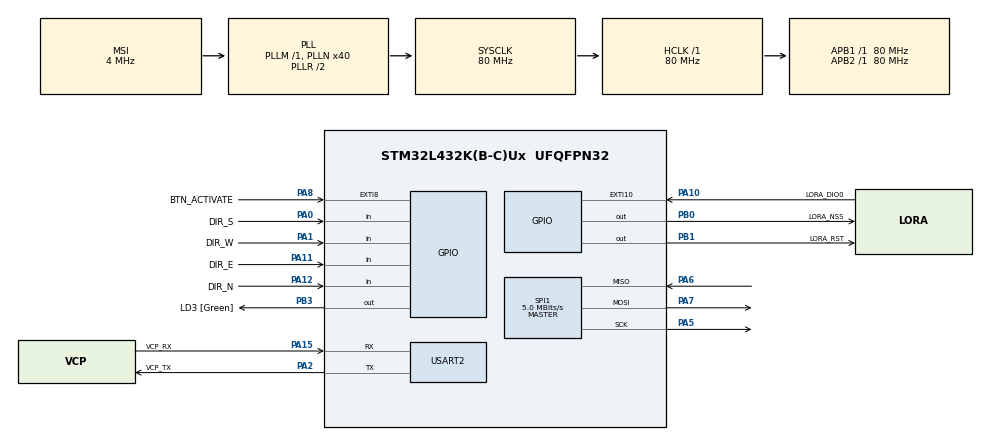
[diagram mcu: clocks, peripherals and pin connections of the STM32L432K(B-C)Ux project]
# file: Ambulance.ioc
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FREERTOS.Tasks01=defaultTask,24,128,StartDefaultTask,Default,NULL,Dynamic,NULL,NULL
FREERTOS.configTOTAL_HEAP_SIZE=8192
Mcu.Family=STM32L4
Mcu.Name=STM32L432K(B-C)Ux
Mcu.Package=UFQFPN32
NVIC.EXTI15_10_IRQn=true\:5\:0\:false\:false\:true\:true\:true\:true\:true
NVIC.EXTI9_5_IRQn=true\:5\:0\:false\:false\:true\:true\:true\:true\:true
NVIC.PriorityGroup=NVIC_PRIORITYGROUP_4
NVIC.TIM6_DAC_IRQn=true\:15\:0\:false\:false\:true\:false\:false\:true\:true
NVIC.TimeBase=TIM6_DAC_IRQn
NVIC.TimeBaseIP=TIM6
PA0.GPIO_Label=DIR_S
PA0.GPIO_PuPd=GPIO_PULLUP
PA0.Signal=GPIO_Input
PA1.GPIO_Label=DIR_W
PA1.GPIO_PuPd=GPIO_PULLUP
PA1.Signal=GPIO_Input
PA10.GPIO_Label=LORA_DIO0
PA10.Signal=GPXTI10
PA11.GPIO_Label=DIR_E
PA11.GPIO_PuPd=GPIO_PULLUP
PA11.Signal=GPIO_Input
PA12.GPIO_Label=DIR_N
PA12.GPIO_PuPd=GPIO_PULLUP
PA12.Signal=GPIO_Input
PA13\ (JTMS-SWDIO).GPIO_Label=SWDIO
PA13\ (JTMS-SWDIO).Mode=Serial_Wire
PA13\ (JTMS-SWDIO).Signal=SYS_JTMS-SWDIO
PA14\ (JTCK-SWCLK).GPIO_Label=SWCLK
PA14\ (JTCK-SWCLK).Mode=Serial_Wire
PA14\ (JTCK-SWCLK).Signal=SYS_JTCK-SWCLK
PA15\ (JTDI).GPIO_Label=VCP_RX
PA15\ (JTDI).Mode=Asynchronous
PA15\ (JTDI).Signal=USART2_RX
PA2.GPIO_Label=VCP_TX
PA2.Mode=Asynchronous
PA2.Signal=USART2_TX
PA5.Mode=Full_Duplex_Master
PA5.Signal=SPI1_SCK
PA6.Mode=Full_Duplex_Master
PA6.Signal=SPI1_MISO
PA7.Mode=Full_Duplex_Master
PA7.Signal=SPI1_MOSI
PA8.GPIO_Label=BTN_ACTIVATE
PA8.GPIO_ModeDefaultEXTI=GPIO_MODE_IT_FALLING
PA8.GPIO_PuPd=GPIO_PULLUP
PA8.Signal=GPXTI8
PB0.GPIO_Label=LORA_NSS
PB0.GPIO_Speed=GPIO_SPEED_FREQ_HIGH
PB0.PinState=GPIO_PIN_SET
PB0.Signal=GPIO_Output
PB1.GPIO_Label=LORA_RST
PB1.GPIO_Speed=GPIO_SPEED_FREQ_HIGH
PB1.PinState=GPIO_PIN_SET
PB1.Signal=GPIO_Output
PB3\ (JTDO-TRACESWO).GPIO_Label=LD3 [Green]
PB3\ (JTDO-TRACESWO).Signal=GPIO_Output
PC14-OSC32_IN\ (PC14).Signal=RCC_OSC32_IN
PC15-OSC32_OUT\ (PC15).Signal=RCC_OSC32_OUT
ProjectManager.HeapSize=0x200
ProjectManager.StackSize=0x400
ProjectManager.TargetToolchain=MDK-ARM V5
RCC.AHBFreq_Value=80000000
RCC.APB1Freq_Value=80000000
RCC.APB1TimFreq_Value=80000000
RCC.APB2Freq_Value=80000000
RCC.APB2TimFreq_Value=80000000
RCC.CortexFreq_Value=80000000
RCC.HCLKFreq_Value=80000000
RCC.HSE_VALUE=8000000
RCC.HSI16_VALUE=16000000
RCC.HSI48_VALUE=48000000
RCC.HSI_VALUE=16000000
RCC.LSE_VALUE=32768
RCC.MSI_VALUE=4000000
RCC.PLLMUL=RCC_PLLMUL_4
RCC.PLLN=40
RCC.SYSCLKFreq_VALUE=80000000
RCC.SYSCLKSource=RCC_SYSCLKSOURCE_PLLCLK
RCC.VCOOutputFreq_Value=160000000
SPI1.BaudRatePrescaler=SPI_BAUDRATEPRESCALER_16
SPI1.CalculateBaudRate=5.0 MBits/s
SPI1.DataSize=SPI_DATASIZE_8BIT
SPI1.Direction=SPI_DIRECTION_2LINES
SPI1.Mode=SPI_MODE_MASTER
SPI1.VirtualType=VM_MASTER
USART2.VirtualMode-Asynchronous=VM_ASYNC
VP_FREERTOS_VS_CMSIS_V2.Mode=CMSIS_V2
VP_SYS_VS_tim6.Mode=TIM6
board=NUCLEO-L432KC

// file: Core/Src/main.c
/* USER CODE BEGIN Header */
/**
  ******************************************************************************
  * @file           : main.c
  * @brief          : Ambulance node — FreeRTOS edition.
  *                   4 tasks: button (50 Hz), radio (every 2s), siren (2 Hz),
  *                   watchdog (1 Hz, via defaultTask).
  ******************************************************************************
  */
/* USER CODE END Header */
#include "main.h"
#include "cmsis_os.h"

/* USER CODE BEGIN Includes */
#include "lora.h"
#include "packet.h"
#include <string.h>
#include <stdbool.h>
#include <stdio.h>
#include <stdarg.h>
/* USER CODE END Includes */

SPI_HandleTypeDef hspi1;

UART_HandleTypeDef huart2;

/* Definitions for defaultTask */
osThreadId_t defaultTaskHandle;
const osThreadAttr_t defaultTask_attributes = {
  .name = "defaultTask",
  .stack_size = 256 * 4,
  .priority = (osPriority_t) osPriorityNormal,
};
/* USER CODE BEGIN PV */

#define AMBULANCE_ID        0x01
#define TX_INTERVAL_MS      2000U
#define BUTTON_DEBOUNCE_MS   150U

static const uint8_t HMAC_KEY[]   = "DEMO_KEY_DO_NOT_USE_IN_PRODUCTION";
static const size_t  HMAC_KEY_LEN = sizeof(HMAC_KEY) - 1;

/* Shared state (volatile because read/written by multiple tasks and the ISR) */
static volatile bool      toggle_pending     = false;
static volatile uint32_t  button_last_irq_ms = 0;
static volatile bool      emergency_active   = false;
static volatile uint32_t  sequence_number    = 0;
static volatile bool      lora_ok            = false;

/* Additional task handles */
osThreadId_t buttonTaskHandle;
osThreadId_t radioTaskHandle;
osThreadId_t sirenTaskHandle;

const osThreadAttr_t buttonTask_attributes = {
  .name = "buttonTask",
  .stack_size = 256 * 4,
  .priority = (osPriority_t) osPriorityHigh,
};

const osThreadAttr_t radioTask_attributes = {
  .name = "radioTask",
  .stack_size = 512 * 4,
  .priority = (osPriority_t) osPriorityNormal,
};

const osThreadAttr_t sirenTask_attributes = {
  .name = "sirenTask",
  .stack_size = 128 * 4,
  .priority = (osPriority_t) osPriorityLow,
};

/* USER CODE END PV */

void SystemClock_Config(void);
static void MX_GPIO_Init(void);
static void MX_USART2_UART_Init(void);
static void MX_SPI1_Init(void);
void StartDefaultTask(void *argument);

/* USER CODE BEGIN PFP */
static void StartButtonTask(void *argument);
static void StartRadioTask(void *argument);
static void StartSirenTask(void *argument);
/* USER CODE END PFP */

/* USER CODE BEGIN 0 */

void HAL_GPIO_EXTI_Callback(uint16_t GPIO_Pin)
{
    uint32_t now = HAL_GetTick();

    if (GPIO_Pin == BTN_ACTIVATE_Pin) {
        if (now - button_last_irq_ms > BUTTON_DEBOUNCE_MS) {
            toggle_pending = true;
            button_last_irq_ms = now;
        }
    }
    else if (GPIO_Pin == LORA_DIO0_Pin) {
        lora_handle_dio0_irq();
    }
}

static void uart_send(const char *s)
{
    HAL_UART_Transmit(&huart2, (uint8_t *)s, (uint16_t)strlen(s), HAL_MAX_DELAY);
}

static void uart_log(const char *fmt, ...)
{
    char buf[120];
    va_list ap;
    va_start(ap, fmt);
    int n = vsnprintf(buf, sizeof(buf), fmt, ap);
    va_end(ap);
    if (n > 0) HAL_UART_Transmit(&huart2, (uint8_t *)buf, (uint16_t)n, HAL_MAX_DELAY);
}

static void set_led(bool on)
{
    HAL_GPIO_WritePin(LD3_GPIO_Port, LD3_Pin,
                      on ? GPIO_PIN_SET : GPIO_PIN_RESET);
}

static void send_emergency_packet(void)
{
    emergency_packet_t pkt;
    memset(&pkt, 0, sizeof(pkt));
    pkt.magic        = EMERGENCY_PACKET_MAGIC;
    pkt.ambulance_id = AMBULANCE_ID;
    pkt.direction    = (uint8_t)DIR_EAST;
    pkt.flags        = 0x01;
    pkt.sequence     = ++sequence_number;
    pkt.timestamp_ms = HAL_GetTick();

    packet_sign(&pkt, HMAC_KEY, HMAC_KEY_LEN);

    if (!lora_ok) {
        uart_log("[%lu] would TX seq=%lu (LoRa unavailable)\r\n",
                 (unsigned long)HAL_GetTick(), (unsigned long)pkt.sequence);
        return;
    }

    if (lora_send((uint8_t *)&pkt, sizeof(pkt)) == LORA_OK) {
        uart_log("[%lu] TX seq=%lu\r\n",
                 (unsigned long)HAL_GetTick(), (unsigned long)pkt.sequence);
    } else {
        uart_log("[%lu] TX failed seq=%lu\r\n",
                 (unsigned long)HAL_GetTick(), (unsigned long)pkt.sequence);
    }
}

/* USER CODE END 0 */

int main(void)
{

  /* MCU Configuration--------------------------------------------------------*/

  /* Reset of all peripherals, Initializes the Flash interface and the Systick. */
  HAL_Init();

  /* Configure the system clock */
  SystemClock_Config();

  /* Initialize all configured peripherals */
  MX_GPIO_Init();
  MX_USART2_UART_Init();
  MX_SPI1_Init();
  /* USER CODE BEGIN 2 */
    uart_send("\r\n\r\n========================================\r\n");
    uart_send("Ambulance unit - FreeRTOS edition\r\n");
    uart_send("========================================\r\n");

    /* Diagnostic: print before lora_init in case it hangs */
    uart_send("Calling lora_init...\r\n");

    lora_config_t cfg = {
        .hspi      = &hspi1,
        .nss_port  = LORA_NSS_GPIO_Port,
        .nss_pin   = LORA_NSS_Pin,
        .rst_port  = LORA_RST_GPIO_Port,
        .rst_pin   = LORA_RST_Pin,
    };

    if (lora_init(&cfg) == LORA_OK) {
        lora_set_frequency(433000000);
        lora_set_spreading_factor(7);
        lora_set_bandwidth_125khz();
        lora_set_coding_rate_4_5();
        lora_set_tx_power(2);
        lora_set_sync_word(0xF3);
        lora_ok = true;
        uart_send("LoRa initialized OK\r\n");
    } else {
        uart_send("ERROR: LoRa init failed - check wiring (continuing without TX)\r\n");
    }

    set_led(false);
    uart_send("Starting FreeRTOS scheduler...\r\n\r\n");
  /* USER CODE END 2 */

  /* Init scheduler */
  osKernelInitialize();

  /* Create the thread(s) */
  /* creation of defaultTask */
  defaultTaskHandle = osThreadNew(StartDefaultTask, NULL, &defaultTask_attributes);

  /* USER CODE BEGIN RTOS_THREADS */
  buttonTaskHandle = osThreadNew(StartButtonTask, NULL, &buttonTask_attributes);
  radioTaskHandle  = osThreadNew(StartRadioTask,  NULL, &radioTask_attributes);
  sirenTaskHandle  = osThreadNew(StartSirenTask,  NULL, &sirenTask_attributes);
  /* USER CODE END RTOS_THREADS */

  /* Start scheduler */
  osKernelStart();

  /* We should never get here as control is now taken by the scheduler */

  /* Infinite loop */
  while (1)
  {

  }
}

void SystemClock_Config(void)
{
  RCC_OscInitTypeDef RCC_OscInitStruct = {0};
  RCC_ClkInitTypeDef RCC_ClkInitStruct = {0};

  /** Configure the main internal regulator output voltage
  */
  if (HAL_PWREx_ControlVoltageScaling(PWR_REGULATOR_VOLTAGE_SCALE1) != HAL_OK)
  {
    Error_Handler();
  }

  /** Initializes the RCC Oscillators according to the specified parameters
  * in the RCC_OscInitTypeDef structure.
  */
  RCC_OscInitStruct.OscillatorType = RCC_OSCILLATORTYPE_MSI;
  RCC_OscInitStruct.MSIState = RCC_MSI_ON;
  RCC_OscInitStruct.MSICalibrationValue = 0;
  RCC_OscInitStruct.MSIClockRange = RCC_MSIRANGE_6;
  RCC_OscInitStruct.PLL.PLLState = RCC_PLL_ON;
  RCC_OscInitStruct.PLL.PLLSource = RCC_PLLSOURCE_MSI;
  RCC_OscInitStruct.PLL.PLLM = 1;
  RCC_OscInitStruct.PLL.PLLN = 40;
  RCC_OscInitStruct.PLL.PLLP = RCC_PLLP_DIV7;
  RCC_OscInitStruct.PLL.PLLQ = RCC_PLLQ_DIV2;
  RCC_OscInitStruct.PLL.PLLR = RCC_PLLR_DIV2;
  if (HAL_RCC_OscConfig(&RCC_OscInitStruct) != HAL_OK)
  {
    Error_Handler();
  }

  /** Initializes the CPU, AHB and APB buses clocks
  */
  RCC_ClkInitStruct.ClockType = RCC_CLOCKTYPE_HCLK|RCC_CLOCKTYPE_SYSCLK
                              |RCC_CLOCKTYPE_PCLK1|RCC_CLOCKTYPE_PCLK2;
  RCC_ClkInitStruct.SYSCLKSource = RCC_SYSCLKSOURCE_PLLCLK;
  RCC_ClkInitStruct.AHBCLKDivider = RCC_SYSCLK_DIV1;
  RCC_ClkInitStruct.APB1CLKDivider = RCC_HCLK_DIV1;
  RCC_ClkInitStruct.APB2CLKDivider = RCC_HCLK_DIV1;

  if (HAL_RCC_ClockConfig(&RCC_ClkInitStruct, FLASH_LATENCY_4) != HAL_OK)
  {
    Error_Handler();
  }
}

static void MX_SPI1_Init(void)
{

  /* SPI1 parameter configuration*/
  hspi1.Instance = SPI1;
  hspi1.Init.Mode = SPI_MODE_MASTER;
  hspi1.Init.Direction = SPI_DIRECTION_2LINES;
  hspi1.Init.DataSize = SPI_DATASIZE_8BIT;
  hspi1.Init.CLKPolarity = SPI_POLARITY_LOW;
  hspi1.Init.CLKPhase = SPI_PHASE_1EDGE;
  hspi1.Init.NSS = SPI_NSS_SOFT;
  hspi1.Init.BaudRatePrescaler = SPI_BAUDRATEPRESCALER_16;
  hspi1.Init.FirstBit = SPI_FIRSTBIT_MSB;
  hspi1.Init.TIMode = SPI_TIMODE_DISABLE;
  hspi1.Init.CRCCalculation = SPI_CRCCALCULATION_DISABLE;
  hspi1.Init.CRCPolynomial = 7;
  hspi1.Init.CRCLength = SPI_CRC_LENGTH_DATASIZE;
  hspi1.Init.NSSPMode = SPI_NSS_PULSE_ENABLE;
  if (HAL_SPI_Init(&hspi1) != HAL_OK)
  {
    Error_Handler();
  }

}

static void MX_USART2_UART_Init(void)
{

  huart2.Instance = USART2;
  huart2.Init.BaudRate = 115200;
  huart2.Init.WordLength = UART_WORDLENGTH_8B;
  huart2.Init.StopBits = UART_STOPBITS_1;
  huart2.Init.Parity = UART_PARITY_NONE;
  huart2.Init.Mode = UART_MODE_TX_RX;
  huart2.Init.HwFlowCtl = UART_HWCONTROL_NONE;
  huart2.Init.OverSampling = UART_OVERSAMPLING_16;
  huart2.Init.OneBitSampling = UART_ONE_BIT_SAMPLE_DISABLE;
  huart2.AdvancedInit.AdvFeatureInit = UART_ADVFEATURE_NO_INIT;
  if (HAL_UART_Init(&huart2) != HAL_OK)
  {
    Error_Handler();
  }

}

static void MX_GPIO_Init(void)
{
  GPIO_InitTypeDef GPIO_InitStruct = {0};

  /* GPIO Ports Clock Enable */
  __HAL_RCC_GPIOC_CLK_ENABLE();
  __HAL_RCC_GPIOA_CLK_ENABLE();
  __HAL_RCC_GPIOB_CLK_ENABLE();

  /*Configure GPIO pin Output Level */
  HAL_GPIO_WritePin(GPIOB, LORA_NSS_Pin|LORA_RST_Pin, GPIO_PIN_SET);

  /*Configure GPIO pin Output Level */
  HAL_GPIO_WritePin(LD3_GPIO_Port, LD3_Pin, GPIO_PIN_RESET);

  /*Configure GPIO pins : DIR_S_Pin DIR_W_Pin DIR_E_Pin DIR_N_Pin */
  GPIO_InitStruct.Pin = DIR_S_Pin|DIR_W_Pin|DIR_E_Pin|DIR_N_Pin;
  GPIO_InitStruct.Mode = GPIO_MODE_INPUT;
  GPIO_InitStruct.Pull = GPIO_PULLUP;
  HAL_GPIO_Init(GPIOA, &GPIO_InitStruct);

  /*Configure GPIO pins : LORA_NSS_Pin LORA_RST_Pin */
  GPIO_InitStruct.Pin = LORA_NSS_Pin|LORA_RST_Pin;
  GPIO_InitStruct.Mode = GPIO_MODE_OUTPUT_PP;
  GPIO_InitStruct.Pull = GPIO_NOPULL;
  GPIO_InitStruct.Speed = GPIO_SPEED_FREQ_HIGH;
  HAL_GPIO_Init(GPIOB, &GPIO_InitStruct);

  /*Configure GPIO pin : BTN_ACTIVATE_Pin */
  GPIO_InitStruct.Pin = BTN_ACTIVATE_Pin;
  GPIO_InitStruct.Mode = GPIO_MODE_IT_FALLING;
  GPIO_InitStruct.Pull = GPIO_PULLUP;
  HAL_GPIO_Init(BTN_ACTIVATE_GPIO_Port, &GPIO_InitStruct);

  /*Configure GPIO pin : LORA_DIO0_Pin */
  GPIO_InitStruct.Pin = LORA_DIO0_Pin;
  GPIO_InitStruct.Mode = GPIO_MODE_IT_RISING;
  GPIO_InitStruct.Pull = GPIO_NOPULL;
  HAL_GPIO_Init(LORA_DIO0_GPIO_Port, &GPIO_InitStruct);

  /*Configure GPIO pin : LD3_Pin */
  GPIO_InitStruct.Pin = LD3_Pin;
  GPIO_InitStruct.Mode = GPIO_MODE_OUTPUT_PP;
  GPIO_InitStruct.Pull = GPIO_NOPULL;
  GPIO_InitStruct.Speed = GPIO_SPEED_FREQ_LOW;
  HAL_GPIO_Init(LD3_GPIO_Port, &GPIO_InitStruct);

  /* EXTI interrupt init*/
  HAL_NVIC_SetPriority(EXTI9_5_IRQn, 5, 0);
  HAL_NVIC_EnableIRQ(EXTI9_5_IRQn);

  HAL_NVIC_SetPriority(EXTI15_10_IRQn, 5, 0);
  HAL_NVIC_EnableIRQ(EXTI15_10_IRQn);

}

/* USER CODE BEGIN 4 */

/* ============================================================
 * Task 1: Button watcher — 50 Hz polling for toggle events.
 * The EXTI ISR sets toggle_pending; this task picks it up,
 * flips emergency_active, and prints the state change.
 * ============================================================ */
static void StartButtonTask(void *argument)
{
    (void)argument;
    for (;;) {
        if (toggle_pending) {
            toggle_pending = false;
            emergency_active = !emergency_active;
            if (emergency_active) {
                uart_log("[%lu] ===== EMERGENCY MODE ON =====\r\n",
                         (unsigned long)HAL_GetTick());
            } else {
                uart_log("[%lu] ===== EMERGENCY MODE OFF =====\r\n",
                         (unsigned long)HAL_GetTick());
                set_led(false);  /* immediately turn off siren */
            }
        }
        osDelay(20);  /* 50 Hz polling */
    }
}

/* ============================================================
 * Task 2: Radio TX — every 2 seconds, sends a packet
 * if emergency mode is active.
 * ============================================================ */
static void StartRadioTask(void *argument)
{
    (void)argument;
    for (;;) {
        if (emergency_active) {
            send_emergency_packet();
        }
        osDelay(TX_INTERVAL_MS);
    }
}

/* ============================================================
 * Task 3: Siren — 2 Hz blink of LD3 while in emergency mode.
 * ============================================================ */
static void StartSirenTask(void *argument)
{
    (void)argument;
    bool led_state = false;
    for (;;) {
        if (emergency_active) {
            led_state = !led_state;
            set_led(led_state);
        } else {
            led_state = false;
            /* Note: buttonTask already turns the LED off on toggle-off */
        }
        osDelay(500);  /* 2 Hz blink rate */
    }
}

/* USER CODE END 4 */

/* USER CODE BEGIN Header_StartDefaultTask */
/**
  * @brief  Function implementing the defaultTask thread.
  *         Repurposed as a watchdog/heartbeat task: prints status to UART
  *         every 10 seconds so we know the system is alive.
  * @param  argument: Not used
  * @retval None
  */
/* USER CODE END Header_StartDefaultTask */
void StartDefaultTask(void *argument)
{
  /* USER CODE BEGIN 5 */
  (void)argument;
  uint32_t beat = 0;
  /* Infinite loop */
  for(;;)
  {
    beat++;
    if ((beat % 10) == 0) {
        uart_log("[%lu] alive - emergency=%s seq=%lu\r\n",
                 (unsigned long)HAL_GetTick(),
                 emergency_active ? "ON" : "off",
                 (unsigned long)sequence_number);
    }
    osDelay(1000);  /* 1 Hz */
  }
  /* USER CODE END 5 */
}

void HAL_TIM_PeriodElapsedCallback(TIM_HandleTypeDef *htim)
{
  if (htim->Instance == TIM6)
  {
    HAL_IncTick();
  }
}

void Error_Handler(void)
{
  __disable_irq();
  while (1)
  {
  }
}
